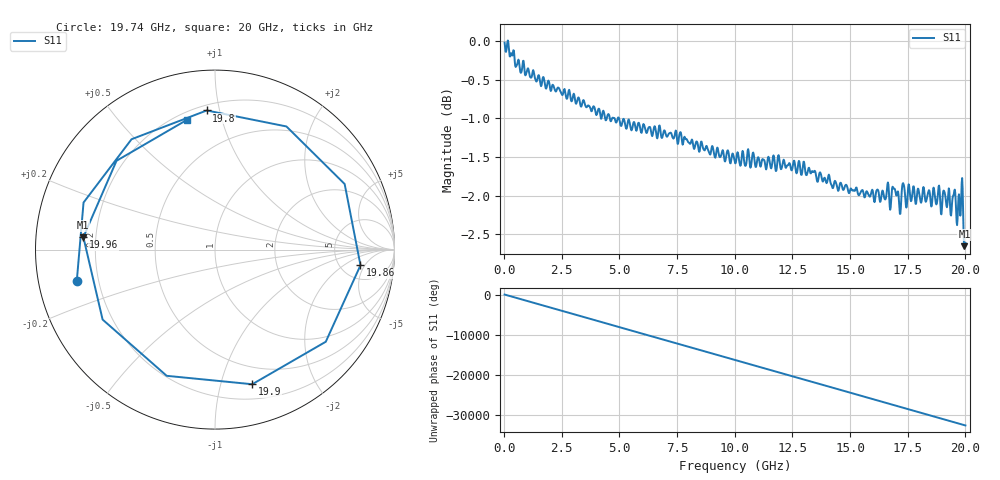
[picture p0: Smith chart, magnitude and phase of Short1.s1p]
! File created by SignalIntegrity v1.1.10: Signal and Power Integrity Tools
! https://github.com/TeledyneLeCroy/SignalIntegrity
# MHz S MA R 50.0
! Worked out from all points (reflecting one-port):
!   1000 points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, 20 MHz to 20 GHz, reference 50 ohm
!   lowest |S11| = -2.7 dB at 19.96 GHz (marker M1), VSWR 6.59, Z = 7.6 + j2.3 ohm
!   phase of S11 starts at 147 deg and turns -32805 deg over the sweep
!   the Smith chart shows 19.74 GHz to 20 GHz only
!   S11 on the Smith chart (normalised r, x): 19.74 GHz: 0.12, -0.11; 19.8 GHz: 0.23, +0.91; 19.86 GHz: 7.72, -4.01; 19.9 GHz: 0.33, -1.26; 19.96 GHz: 0.15, +0.05; 20 GHz: 0.24, +0.78
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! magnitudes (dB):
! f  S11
! 20 MHz  0.0
! 660 MHz  -0.3
! 2.52 GHz  -0.7
! 5.02 GHz  -1.0
! 7.52 GHz  -1.3
! 10.02 GHz  -1.6
! 12.52 GHz  -1.6
! 15.02 GHz  -1.9
! 16.38 GHz  -2.0
! 16.58 GHz  -2.0
! 16.78 GHz  -2.1
! 16.9 GHz  -1.9
! 17 GHz  -2.0
! 17.12 GHz  -2.1
! 17.3 GHz  -1.8
! 17.52 GHz  -1.9
! 18.8 GHz  -2.0
! 19 GHz  -2.1
! 19.1 GHz  -2.0
! 19.3 GHz  -1.9
! 19.5 GHz  -2.0
! 19.7 GHz  -2.0
! 19.74 GHz  -2.1
! 19.8 GHz  -2.2
! 19.86 GHz  -1.8
! 19.9 GHz  -2.2
! 19.96 GHz  -2.7
! 20 GHz  -2.6
